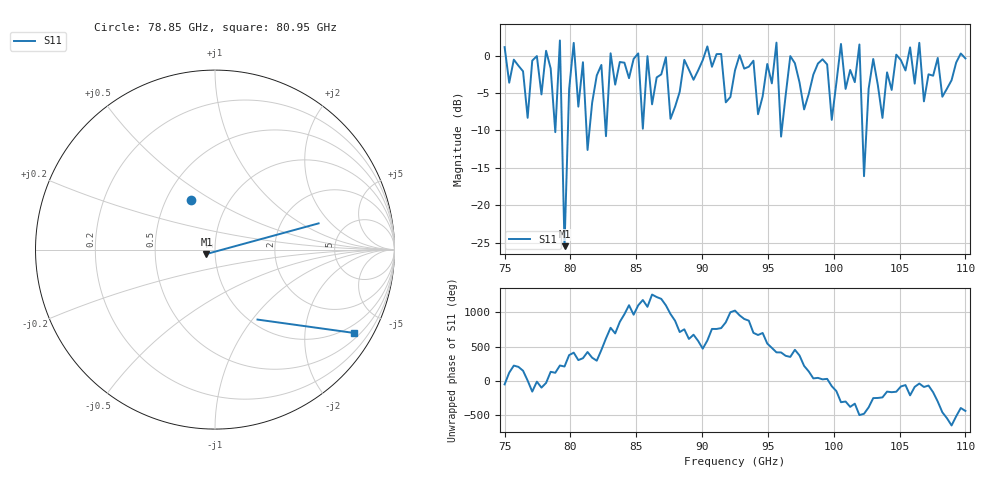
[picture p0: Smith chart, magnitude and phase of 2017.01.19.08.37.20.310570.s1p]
!Created with skrf (http://scikit-rf.org).
# GHz S RI R 50.0
!freq ReS11 ImS11
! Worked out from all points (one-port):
!   101 points, 75 GHz to 110 GHz, reference 50 ohm
!   lowest |S11| = -25.4 dB at 79.55 GHz (marker M1), VSWR 1.11, Z = 45.4 - j2.23 ohm
!   |S11| at or under -10 dB: 78.84082 GHz to 78.85637 GHz (15.55 MHz wide, 0.0197 % of centre); 79.35 GHz to 79.81 GHz (454.9 MHz wide, 0.572 % of centre); 81.22233 GHz to 81.4442 GHz (221.9 MHz wide, 0.273 % of centre) (the widest 3 of 6)
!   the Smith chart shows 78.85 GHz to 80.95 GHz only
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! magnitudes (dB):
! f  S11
! 75 GHz  1.1
! 76.75 GHz  -8.3
! 78.15 GHz  0.6
! 78.85 GHz  -10.2
! 79.2 GHz  2.0
! 79.55 GHz  -25.4
! 79.9 GHz  -4.5
! 80.25 GHz  1.7
! 80.95 GHz  -0.9
! 81.3 GHz  -12.6
! 83.75 GHz  -0.9
! 85.15 GHz  0.3
! 85.5 GHz  -9.8
! 85.85 GHz  -0.1
! 88.3 GHz  -4.8
! 92.5 GHz  -2.0
! 94.25 GHz  -7.8
! 95.65 GHz  1.7
! 96 GHz  -10.8
! 97.05 GHz  -1.0
! 99.85 GHz  -8.6
! 101.2 GHz  -1.9
! 102 GHz  1.5
! 102.3 GHz  -16.1
! 103 GHz  -0.5
! 103.7 GHz  -8.3
! 105.8 GHz  1.1
! 110 GHz  -0.4
